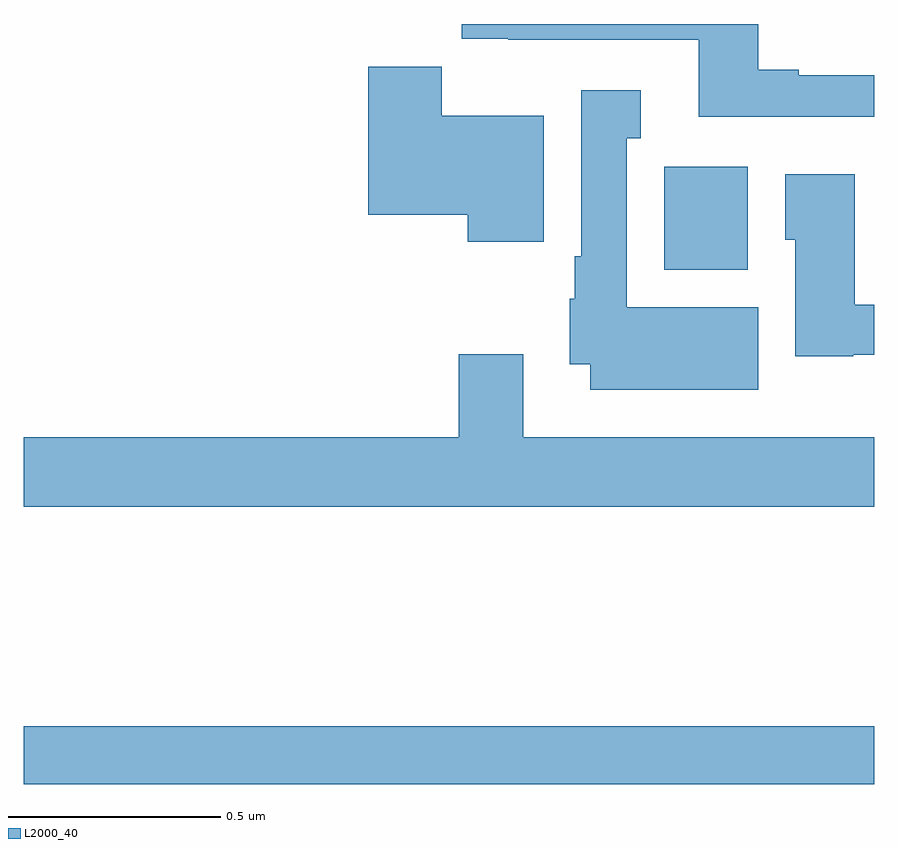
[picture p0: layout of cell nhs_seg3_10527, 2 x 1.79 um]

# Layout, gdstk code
import gdstk
lib = gdstk.Library(unit=1e-6, precision=1e-09)
def R(c, l, rs):  # rectangles x0, y0, x1, y1
    for r in rs: c.add(gdstk.rectangle(r[:2], r[2:], *l))
def P(c, l, *ps):  # polygons
    for p in ps: c.add(gdstk.Polygon(p, *l))
L2000_40 = (2000, 40)

nhs_seg3_10527 = lib.new_cell('nhs_seg3_10527')
R(nhs_seg3_10527, L2000_40, [(242,685.612,244,685.748), (243.506,686.822,243.703,687.064)])
P(nhs_seg3_10527, L2000_40, [(244,687.279),(243.823,687.279),(243.823,687.292),(243.727,687.292),(243.727,687.4),(243.03,687.4),(243.03,687.365),(243.139,687.365),(243.139,687.363),(243.587,687.363),(243.587,687.182),(244,687.182)],
  [(243.223,687.184),(242.983,687.184),(242.983,687.3),(242.81,687.3),(242.81,686.951),(243.044,686.951),(243.044,686.888),(243.223,686.888)],
  [(243.727,686.734),(243.418,686.734),(243.418,687.131),(243.451,687.131),(243.451,687.244),(243.311,687.244),(243.311,686.854),(243.296,686.854),(243.296,686.754),(243.284,686.754),(243.284,686.6),(243.332,686.6),(243.332,686.54),(243.727,686.54)],
  [(243.951,686.622),(244,686.622),(244,686.74),(243.955,686.74),(243.955,687.046),(243.791,687.046),(243.791,686.892),(243.815,686.892),(243.815,686.618),(243.951,686.618)],
  [(244,686.428),(243.175,686.428),(243.175,686.623),(243.023,686.623),(243.023,686.428),(242,686.428),(242,686.264),(244,686.264)])

lib.write_gds('nhs_seg3_10527.gds')
